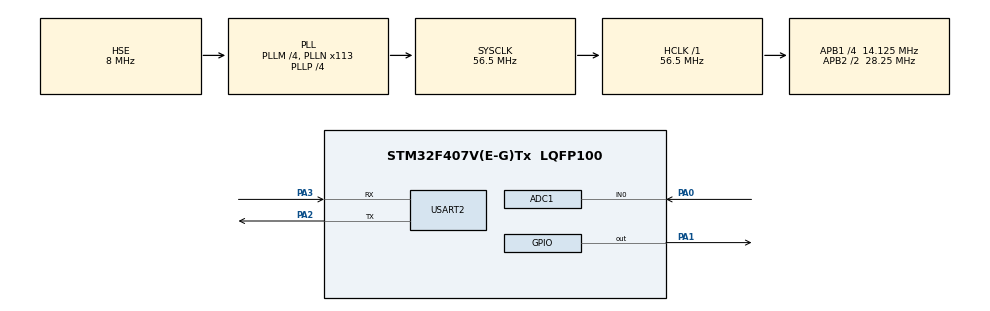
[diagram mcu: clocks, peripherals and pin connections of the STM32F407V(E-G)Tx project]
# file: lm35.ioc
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ADC1.Channel-0\#ChannelRegularConversion=ADC_CHANNEL_0
ADC1.NbrOfConversionFlag=1
ADC1.Rank-0\#ChannelRegularConversion=1
ADC1.SamplingTime-0\#ChannelRegularConversion=ADC_SAMPLETIME_3CYCLES
ADC1.master=1
Mcu.Family=STM32F4
Mcu.Name=STM32F407V(E-G)Tx
Mcu.Package=LQFP100
NVIC.PriorityGroup=NVIC_PRIORITYGROUP_0
PA0-WKUP.Signal=ADCx_IN0
PA1.Signal=GPIO_Output
PA2.Mode=Asynchronous
PA2.Signal=USART2_TX
PA3.Mode=Asynchronous
PA3.Signal=USART2_RX
PH0-OSC_IN.Mode=HSE-External-Oscillator
PH0-OSC_IN.Signal=RCC_OSC_IN
PH1-OSC_OUT.Mode=HSE-External-Oscillator
PH1-OSC_OUT.Signal=RCC_OSC_OUT
ProjectManager.HeapSize=0x200
ProjectManager.StackSize=0x400
ProjectManager.TargetToolchain=STM32CubeIDE
RCC.48MHZClocksFreq_Value=32285714.285714287
RCC.AHBFreq_Value=56500000
RCC.APB1CLKDivider=RCC_HCLK_DIV4
RCC.APB1Freq_Value=14125000
RCC.APB1TimFreq_Value=28250000
RCC.APB2CLKDivider=RCC_HCLK_DIV2
RCC.APB2Freq_Value=28250000
RCC.APB2TimFreq_Value=56500000
RCC.CortexFreq_Value=56500000
RCC.HCLKFreq_Value=56500000
RCC.HSE_VALUE=8000000
RCC.HSI_VALUE=16000000
RCC.LSE_VALUE=32768
RCC.PLLM=4
RCC.PLLN=113
RCC.PLLP=RCC_PLLP_DIV4
RCC.PLLQ=7
RCC.PLLSourceVirtual=RCC_PLLSOURCE_HSE
RCC.SYSCLKFreq_VALUE=56500000
RCC.SYSCLKSource=RCC_SYSCLKSOURCE_PLLCLK
RCC.VCOOutputFreq_Value=226000000
SH.ADCx_IN0.0=ADC1_IN0,IN0
USART2.VirtualMode=VM_ASYNC
board=STM32F407G-DISC1

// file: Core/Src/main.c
/* USER CODE BEGIN Header */
/**
  ******************************************************************************
  * @file           : main.c
  * @brief          : Main program body
  ******************************************************************************
  * @attention
  *
  * Copyright (c) 2022 STMicroelectronics.
  * All rights reserved.
  *
  * This software is licensed under terms that can be found in the LICENSE file
  * in the root directory of this software component.
  * If no LICENSE file comes with this software, it is provided AS-IS.
  *

  ******************************************************************************
  */
/* USER CODE END Header */
#include "main.h"

 ADC_HandleTypeDef hadc1;

UART_HandleTypeDef huart2;

void SystemClock_Config(void);
static void MX_GPIO_Init(void);
static void MX_ADC1_Init(void);
static void MX_USART2_UART_Init(void);
/* USER CODE BEGIN PFP */
void temp_conv(uint16_t temp_var);
void print_char(uint32_t num_var);

/* USER CODE END PFP */

int main(void)
{
  /* USER CODE BEGIN 1 */
	uint8_t *Welcome_msg = {"Welcome to STMetatronics \r\n Temperature sensor interface \n"};
	uint16_t ADC_val;

  /* USER CODE END 1 */

  /* MCU Configuration--------------------------------------------------------*/

  /* Reset of all peripherals, Initializes the Flash interface and the Systick. */
  HAL_Init();

  /* Configure the system clock */
  SystemClock_Config();

  /* Initialize all configured peripherals */
  MX_GPIO_Init();
  MX_ADC1_Init();
  MX_USART2_UART_Init();
  /* USER CODE BEGIN 2 */
HAL_UART_Transmit(&huart2, Welcome_msg, strlen(Welcome_msg) ,40);
  /* USER CODE END 2 */

  /* Infinite loop */
  while (1)
  {

    /* USER CODE BEGIN 3 */
	  HAL_ADC_Start(&hadc1);
	  HAL_ADC_PollForConversion(&hadc1,100);
	  ADC_val = HAL_ADC_GetValue(&hadc1);
	  HAL_ADC_Stop(&hadc1);
	  temp_conv(ADC_val);
	  HAL_Delay(500);
  }
  /* USER CODE END 3 */
}

void SystemClock_Config(void)
{
  RCC_OscInitTypeDef RCC_OscInitStruct = {0};
  RCC_ClkInitTypeDef RCC_ClkInitStruct = {0};

  /** Configure the main internal regulator output voltage
  */
  __HAL_RCC_PWR_CLK_ENABLE();
  __HAL_PWR_VOLTAGESCALING_CONFIG(PWR_REGULATOR_VOLTAGE_SCALE1);

  /** Initializes the RCC Oscillators according to the specified parameters
  * in the RCC_OscInitTypeDef structure.
  */
  RCC_OscInitStruct.OscillatorType = RCC_OSCILLATORTYPE_HSE;
  RCC_OscInitStruct.HSEState = RCC_HSE_ON;
  RCC_OscInitStruct.PLL.PLLState = RCC_PLL_ON;
  RCC_OscInitStruct.PLL.PLLSource = RCC_PLLSOURCE_HSE;
  RCC_OscInitStruct.PLL.PLLM = 4;
  RCC_OscInitStruct.PLL.PLLN = 113;
  RCC_OscInitStruct.PLL.PLLP = RCC_PLLP_DIV4;
  RCC_OscInitStruct.PLL.PLLQ = 7;
  if (HAL_RCC_OscConfig(&RCC_OscInitStruct) != HAL_OK)
  {
    Error_Handler();
  }

  /** Initializes the CPU, AHB and APB buses clocks
  */
  RCC_ClkInitStruct.ClockType = RCC_CLOCKTYPE_HCLK|RCC_CLOCKTYPE_SYSCLK
                              |RCC_CLOCKTYPE_PCLK1|RCC_CLOCKTYPE_PCLK2;
  RCC_ClkInitStruct.SYSCLKSource = RCC_SYSCLKSOURCE_PLLCLK;
  RCC_ClkInitStruct.AHBCLKDivider = RCC_SYSCLK_DIV1;
  RCC_ClkInitStruct.APB1CLKDivider = RCC_HCLK_DIV4;
  RCC_ClkInitStruct.APB2CLKDivider = RCC_HCLK_DIV2;

  if (HAL_RCC_ClockConfig(&RCC_ClkInitStruct, FLASH_LATENCY_1) != HAL_OK)
  {
    Error_Handler();
  }
}

static void MX_ADC1_Init(void)
{

  ADC_ChannelConfTypeDef sConfig = {0};

  /** Configure the global features of the ADC (Clock, Resolution, Data Alignment and number of conversion)
  */
  hadc1.Instance = ADC1;
  hadc1.Init.ClockPrescaler = ADC_CLOCK_SYNC_PCLK_DIV2;
  hadc1.Init.Resolution = ADC_RESOLUTION_12B;
  hadc1.Init.ScanConvMode = DISABLE;
  hadc1.Init.ContinuousConvMode = DISABLE;
  hadc1.Init.DiscontinuousConvMode = DISABLE;
  hadc1.Init.ExternalTrigConvEdge = ADC_EXTERNALTRIGCONVEDGE_NONE;
  hadc1.Init.ExternalTrigConv = ADC_SOFTWARE_START;
  hadc1.Init.DataAlign = ADC_DATAALIGN_RIGHT;
  hadc1.Init.NbrOfConversion = 1;
  hadc1.Init.DMAContinuousRequests = DISABLE;
  hadc1.Init.EOCSelection = ADC_EOC_SINGLE_CONV;
  if (HAL_ADC_Init(&hadc1) != HAL_OK)
  {
    Error_Handler();
  }

  /** Configure for the selected ADC regular channel its corresponding rank in the sequencer and its sample time.
  */
  sConfig.Channel = ADC_CHANNEL_0;
  sConfig.Rank = 1;
  sConfig.SamplingTime = ADC_SAMPLETIME_3CYCLES;
  if (HAL_ADC_ConfigChannel(&hadc1, &sConfig) != HAL_OK)
  {
    Error_Handler();
  }

}

static void MX_USART2_UART_Init(void)
{

  huart2.Instance = USART2;
  huart2.Init.BaudRate = 115200;
  huart2.Init.WordLength = UART_WORDLENGTH_8B;
  huart2.Init.StopBits = UART_STOPBITS_1;
  huart2.Init.Parity = UART_PARITY_NONE;
  huart2.Init.Mode = UART_MODE_TX_RX;
  huart2.Init.HwFlowCtl = UART_HWCONTROL_NONE;
  huart2.Init.OverSampling = UART_OVERSAMPLING_16;
  if (HAL_UART_Init(&huart2) != HAL_OK)
  {
    Error_Handler();
  }

}

static void MX_GPIO_Init(void)
{
  GPIO_InitTypeDef GPIO_InitStruct = {0};

  /* GPIO Ports Clock Enable */
  __HAL_RCC_GPIOH_CLK_ENABLE();
  __HAL_RCC_GPIOA_CLK_ENABLE();

  /*Configure GPIO pin Output Level */
  HAL_GPIO_WritePin(GPIOA, GPIO_PIN_1, GPIO_PIN_RESET);

  /*Configure GPIO pin : PA1 */
  GPIO_InitStruct.Pin = GPIO_PIN_1;
  GPIO_InitStruct.Mode = GPIO_MODE_OUTPUT_PP;
  GPIO_InitStruct.Pull = GPIO_NOPULL;
  GPIO_InitStruct.Speed = GPIO_SPEED_FREQ_LOW;
  HAL_GPIO_Init(GPIOA, &GPIO_InitStruct);

}

/* USER CODE BEGIN 4 */
void temp_conv(uint16_t temp_var)
{
	uint32_t var1 = 0;
	var1 =(temp_var*8.05);
	HAL_UART_Transmit(&huart2, "temp:", 6 ,10);
	print_char(var1);
}
 void print_char(uint32_t num_var)
{
	uint8_t char_num_var[] = {"00000\r\n"};
	uint8_t i = 5;
	while(num_var !=0)
	{
		char_num_var[i] = (num_var%10) + 48;
		num_var = num_var/10;
		i--;
		if(i == 3)
		{
			char_num_var[i] = '.';
			i--;
		}
	}

			char_num_var[i] = (num_var%10) + 48   ;

			HAL_UART_Transmit(&huart2, &char_num_var[0],8,15);
			HAL_Delay(1);
		}

/* USER CODE END 4 */

void Error_Handler(void)
{
  __disable_irq();
  while (1)
  {
  }
}
